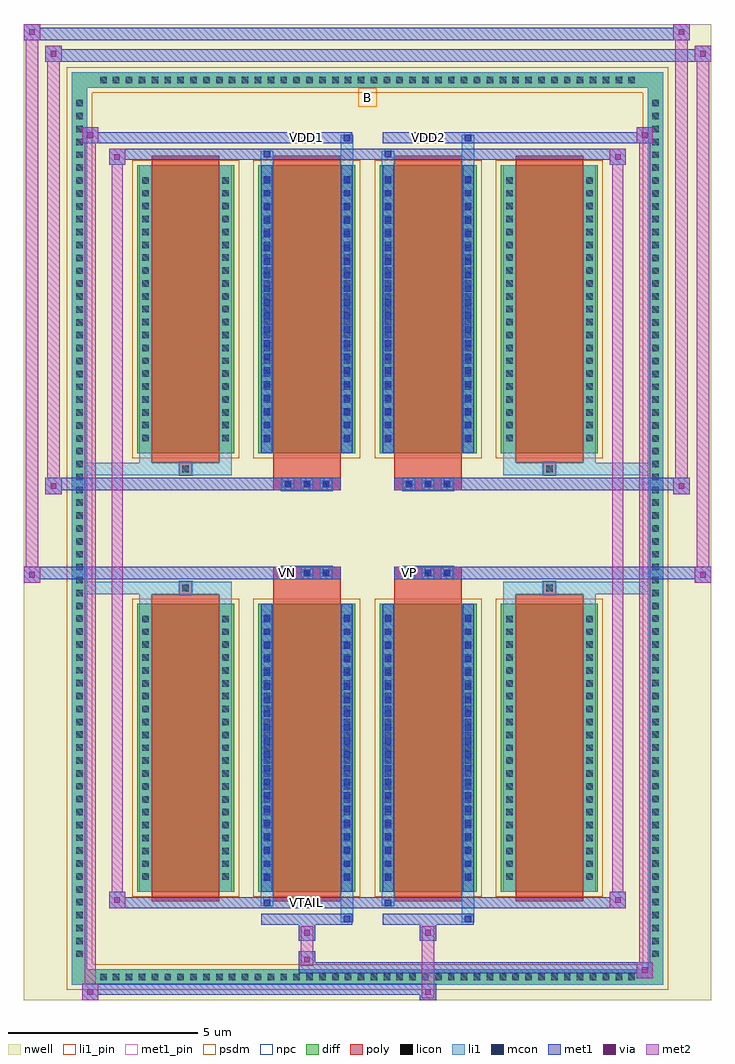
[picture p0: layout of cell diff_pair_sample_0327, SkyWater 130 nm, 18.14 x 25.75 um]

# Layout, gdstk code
import gdstk
lib = gdstk.Library(unit=1e-6, precision=5e-09)
def R(c, l, rs):  # rectangles x0, y0, x1, y1
    for r in rs: c.add(gdstk.rectangle(r[:2], r[2:], *l))
def A(c, l, x, y, w, h, nx, ny, dx, dy):  # array of equal rectangles
    R(c, l, [(x+i*dx, y+j*dy, x+i*dx+w, y+j*dy+h) for i in range(nx) for j in range(ny)])
def P(c, l, *ps):  # polygons
    for p in ps: c.add(gdstk.Polygon(p, *l))
nwell = (64, 20)
diff = (65, 20)
poly = (66, 20)
licon = (66, 44)
li1_pin = (67, 16)
li1 = (67, 20)
mcon = (67, 44)
met1_pin = (68, 16)
met1 = (68, 20)
via = (68, 44)
met2 = (69, 20)
psdm = (94, 20)
npc = (95, 20)

diff_pair_sample_0327 = lib.new_cell('diff_pair_sample_0327')
R(diff_pair_sample_0327, nwell, [(-9.07,-12.44,9.07,13.31), (-6.39,-10.63,-0.01,-0.805), (0.01,-10.63,6.39,-0.805), (-6.39,0.805,-0.01,10.63), (0.01,0.805,6.39,10.63)])
A(diff_pair_sample_0327, diff, -7.175, -12.04, 0.41, 0.41, 42, 2, 0.34, 23.67)
A(diff_pair_sample_0327, diff, -7.8, -11.425, 0.41, 0.41, 1, 67, 0, 0.34)
A(diff_pair_sample_0327, diff, 7.39, -11.425, 0.41, 0.41, 1, 67, 0, 0.34)
A(diff_pair_sample_0327, diff, -6.08, -9.585, 2.56, 7.6, 4, 2, 3.2, 11.57)
R(diff_pair_sample_0327, diff, [(-7.175,-12.04,7.175,-11.63), (-7.8,-11.425,-7.39,11.425), (7.39,-11.425,7.8,11.425), (-7.175,11.63,7.175,12.04)])
P(diff_pair_sample_0327, diff, [(7.8,12.04),(-7.8,12.04),(-7.8,-11.63),(-7.39,-11.63),(-7.39,11.63),(7.39,11.63),(7.39,-11.63),(-7.39,-11.63),(-7.8,-11.63),(-7.8,-12.04),(7.8,-12.04)])
A(diff_pair_sample_0327, poly, -5.69, -9.835, 1.78, 8.1, 4, 2, 3.2, 11.57)
A(diff_pair_sample_0327, poly, -2.265, -1.335, 0.33, 0.33, 3, 2, 0.5, 2.34)
A(diff_pair_sample_0327, poly, 0.935, -1.335, 0.33, 0.33, 3, 2, 0.5, 2.34)
R(diff_pair_sample_0327, poly, [(-4.965,-1.735,-4.635,-1.405), (-4.965,-1.735,-4.635,-1.405), (-2.49,-1.735,-0.71,-1.335), (0.71,-1.735,2.49,-1.335), (4.635,-1.735,4.965,-1.405), (4.635,-1.735,4.965,-1.405), (-2.49,-1.335,-0.71,-1.005), (0.71,-1.335,2.49,-1.005), (-2.49,1.005,-0.71,1.335), (0.71,1.005,2.49,1.335), (-2.49,1.335,-0.71,1.735), (0.71,1.335,2.49,1.735), (-4.965,1.405,-4.635,1.735), (-4.965,1.405,-4.635,1.735), (4.635,1.405,4.965,1.735), (4.635,1.405,4.965,1.735)])
A(diff_pair_sample_0327, licon, -7.055, -11.92, 0.17, 0.17, 42, 2, 0.34, 23.67)
A(diff_pair_sample_0327, licon, -7.68, -11.305, 0.17, 0.17, 1, 67, 0, 0.34)
A(diff_pair_sample_0327, licon, 7.51, -11.305, 0.17, 0.17, 1, 67, 0, 0.34)
A(diff_pair_sample_0327, licon, -5.94, -9.27, 0.17, 0.17, 1, 21, 0, 0.34)
A(diff_pair_sample_0327, licon, -3.83, -9.27, 0.17, 0.17, 1, 21, 0, 0.34)
A(diff_pair_sample_0327, licon, -2.74, -9.27, 0.17, 0.17, 1, 21, 0, 0.34)
A(diff_pair_sample_0327, licon, -0.63, -9.27, 0.17, 0.17, 1, 21, 0, 0.34)
A(diff_pair_sample_0327, licon, 0.46, -9.27, 0.17, 0.17, 1, 21, 0, 0.34)
A(diff_pair_sample_0327, licon, 2.57, -9.27, 0.17, 0.17, 1, 21, 0, 0.34)
A(diff_pair_sample_0327, licon, 3.66, -9.27, 0.17, 0.17, 1, 21, 0, 0.34)
A(diff_pair_sample_0327, licon, 5.77, -9.27, 0.17, 0.17, 1, 21, 0, 0.34)
A(diff_pair_sample_0327, licon, -2.185, -1.255, 0.17, 0.17, 3, 2, 0.5, 2.34)
A(diff_pair_sample_0327, licon, 1.015, -1.255, 0.17, 0.17, 3, 2, 0.5, 2.34)
A(diff_pair_sample_0327, licon, -5.94, 2.3, 0.17, 0.17, 1, 21, 0, 0.34)
A(diff_pair_sample_0327, licon, -3.83, 2.3, 0.17, 0.17, 1, 21, 0, 0.34)
A(diff_pair_sample_0327, licon, -2.74, 2.3, 0.17, 0.17, 1, 21, 0, 0.34)
A(diff_pair_sample_0327, licon, -0.63, 2.3, 0.17, 0.17, 1, 21, 0, 0.34)
A(diff_pair_sample_0327, licon, 0.46, 2.3, 0.17, 0.17, 1, 21, 0, 0.34)
A(diff_pair_sample_0327, licon, 2.57, 2.3, 0.17, 0.17, 1, 21, 0, 0.34)
A(diff_pair_sample_0327, licon, 3.66, 2.3, 0.17, 0.17, 1, 21, 0, 0.34)
A(diff_pair_sample_0327, licon, 5.77, 2.3, 0.17, 0.17, 1, 21, 0, 0.34)
R(diff_pair_sample_0327, licon, [(-4.885,-1.655,-4.715,-1.485), (4.715,-1.655,4.885,-1.485), (-4.885,1.485,-4.715,1.655), (4.715,1.485,4.885,1.655)])
R(diff_pair_sample_0327, li1_pin, [(-0.25,11.13,0.25,11.63)])
A(diff_pair_sample_0327, li1, -7.135, -12, 0.33, 0.33, 42, 2, 0.34, 23.67)
A(diff_pair_sample_0327, li1, -7.76, -11.385, 0.33, 0.33, 1, 67, 0, 0.34)
A(diff_pair_sample_0327, li1, 7.43, -11.385, 0.33, 0.33, 1, 67, 0, 0.34)
A(diff_pair_sample_0327, li1, -6.02, -9.35, 0.33, 0.33, 1, 21, 0, 0.34)
A(diff_pair_sample_0327, li1, -3.91, -9.35, 0.33, 0.33, 1, 21, 0, 0.34)
A(diff_pair_sample_0327, li1, -2.82, -9.35, 0.33, 0.33, 1, 21, 0, 0.34)
A(diff_pair_sample_0327, li1, -0.71, -9.35, 0.33, 0.33, 1, 21, 0, 0.34)
A(diff_pair_sample_0327, li1, 0.38, -9.35, 0.33, 0.33, 1, 21, 0, 0.34)
A(diff_pair_sample_0327, li1, 2.49, -9.35, 0.33, 0.33, 1, 21, 0, 0.34)
A(diff_pair_sample_0327, li1, 3.58, -9.35, 0.33, 0.33, 1, 21, 0, 0.34)
A(diff_pair_sample_0327, li1, 5.69, -9.35, 0.33, 0.33, 1, 21, 0, 0.34)
A(diff_pair_sample_0327, li1, -2.74, -9.29, 0.17, 0.17, 1, 20, 0, 0.36)
A(diff_pair_sample_0327, li1, -0.63, -9.29, 0.17, 0.17, 1, 20, 0, 0.36)
A(diff_pair_sample_0327, li1, 0.46, -9.29, 0.17, 0.17, 1, 20, 0, 0.36)
A(diff_pair_sample_0327, li1, 2.57, -9.29, 0.17, 0.17, 1, 20, 0, 0.36)
A(diff_pair_sample_0327, li1, -2.265, -1.335, 0.33, 0.33, 3, 2, 0.5, 2.34)
A(diff_pair_sample_0327, li1, 0.935, -1.335, 0.33, 0.33, 3, 2, 0.5, 2.34)
A(diff_pair_sample_0327, li1, -6.02, 2.22, 0.33, 0.33, 1, 21, 0, 0.34)
A(diff_pair_sample_0327, li1, -3.91, 2.22, 0.33, 0.33, 1, 21, 0, 0.34)
A(diff_pair_sample_0327, li1, -2.82, 2.22, 0.33, 0.33, 1, 21, 0, 0.34)
A(diff_pair_sample_0327, li1, -0.71, 2.22, 0.33, 0.33, 1, 21, 0, 0.34)
A(diff_pair_sample_0327, li1, 0.38, 2.22, 0.33, 0.33, 1, 21, 0, 0.34)
A(diff_pair_sample_0327, li1, 2.49, 2.22, 0.33, 0.33, 1, 21, 0, 0.34)
A(diff_pair_sample_0327, li1, 3.58, 2.22, 0.33, 0.33, 1, 21, 0, 0.34)
A(diff_pair_sample_0327, li1, 5.69, 2.22, 0.33, 0.33, 1, 21, 0, 0.34)
A(diff_pair_sample_0327, li1, -2.74, 2.28, 0.17, 0.17, 1, 20, 0, 0.36)
A(diff_pair_sample_0327, li1, -0.63, 2.28, 0.17, 0.17, 1, 20, 0, 0.36)
A(diff_pair_sample_0327, li1, 0.46, 2.28, 0.17, 0.17, 1, 20, 0, 0.36)
A(diff_pair_sample_0327, li1, 2.57, 2.28, 0.17, 0.17, 1, 20, 0, 0.36)
R(diff_pair_sample_0327, li1, [(-7.8,-12.04,-7.39,-11.63), (-7.8,-12.04,-7.39,-11.63), (-7.39,-12.04,7.39,-11.63), (7.39,-12.04,7.8,-11.63), (7.39,-12.04,7.8,-11.63), (-7.8,-11.63,-7.39,11.63), (7.39,-11.63,7.8,11.63), (-0.71,-10.39,-0.38,-9.585), (-0.63,-10.39,-0.46,-10.22), (2.49,-10.39,2.82,-9.585), (2.57,-10.39,2.74,-10.22), (-2.82,-9.96,-2.49,-9.585), (-2.74,-9.96,-2.57,-9.79), (0.38,-9.96,0.71,-9.585), (0.46,-9.96,0.63,-9.79), (-6.02,-9.585,-5.69,-1.985), (-3.91,-9.585,-3.58,-1.985), (-2.82,-9.585,-2.49,-1.985), (-0.71,-9.585,-0.38,-1.985), (0.38,-9.585,0.71,-1.985), (2.49,-9.585,2.82,-1.985), (3.58,-9.585,3.91,-1.985), (5.69,-9.585,6.02,-1.985), (-2.74,-9.29,-2.57,-2.28), (-0.63,-9.29,-0.46,-2.28), (0.46,-9.29,0.63,-2.28), (2.57,-9.29,2.74,-2.28), (-6.02,-1.985,-5.69,-1.405), (-3.91,-1.985,-3.58,-1.405), (3.58,-1.985,3.91,-1.405), (5.69,-1.985,6.02,-1.405), (-7.8,-1.735,-4.965,-1.405), (-6.02,-1.735,-4.965,-1.405), (-4.965,-1.735,-4.635,-1.405), (-4.635,-1.735,-3.58,-1.405), (3.58,-1.735,4.635,-1.405), (4.635,-1.735,4.965,-1.405), (4.635,-1.735,7.8,-1.405), (4.965,-1.735,6.02,-1.405), (-7.8,1.405,-4.965,1.735), (-6.02,1.405,-4.965,1.735), (-6.02,1.405,-5.69,1.985), (-4.965,1.405,-4.635,1.735), (-4.635,1.405,-3.58,1.735), (-3.91,1.405,-3.58,1.985), (3.58,1.405,4.635,1.735), (3.58,1.405,3.91,1.985), (4.635,1.405,4.965,1.735), (4.635,1.405,7.8,1.735), (4.965,1.405,6.02,1.735), (5.69,1.405,6.02,1.985), (-6.02,1.985,-5.69,9.585), (-3.91,1.985,-3.58,9.585), (-2.82,1.985,-2.49,9.585), (-0.71,1.985,-0.38,9.585), (0.38,1.985,0.71,9.585), (2.49,1.985,2.82,9.585), (3.58,1.985,3.91,9.585), (5.69,1.985,6.02,9.585), (-2.74,2.28,-2.57,9.29), (-0.63,2.28,-0.46,9.29), (0.46,2.28,0.63,9.29), (2.57,2.28,2.74,9.29), (-2.82,9.585,-2.49,9.96), (-0.71,9.585,-0.38,10.39), (0.38,9.585,0.71,9.96), (2.49,9.585,2.82,10.39), (-2.74,9.79,-2.57,9.96), (0.46,9.79,0.63,9.96), (-0.63,10.22,-0.46,10.39), (2.57,10.22,2.74,10.39), (-7.8,11.63,-7.39,12.04), (-7.8,11.63,-7.39,12.04), (-7.39,11.63,7.39,12.04), (7.39,11.63,7.8,12.04), (7.39,11.63,7.8,12.04)])
A(diff_pair_sample_0327, mcon, -2.74, -9.29, 0.17, 0.17, 1, 20, 0, 0.36)
A(diff_pair_sample_0327, mcon, -0.63, -9.29, 0.17, 0.17, 1, 20, 0, 0.36)
A(diff_pair_sample_0327, mcon, 0.46, -9.29, 0.17, 0.17, 1, 20, 0, 0.36)
A(diff_pair_sample_0327, mcon, 2.57, -9.29, 0.17, 0.17, 1, 20, 0, 0.36)
A(diff_pair_sample_0327, mcon, -2.185, -1.255, 0.17, 0.17, 3, 2, 0.5, 2.34)
A(diff_pair_sample_0327, mcon, 1.015, -1.255, 0.17, 0.17, 3, 2, 0.5, 2.34)
A(diff_pair_sample_0327, mcon, -2.74, 2.28, 0.17, 0.17, 1, 20, 0, 0.36)
A(diff_pair_sample_0327, mcon, -0.63, 2.28, 0.17, 0.17, 1, 20, 0, 0.36)
A(diff_pair_sample_0327, mcon, 0.46, 2.28, 0.17, 0.17, 1, 20, 0, 0.36)
A(diff_pair_sample_0327, mcon, 2.57, 2.28, 0.17, 0.17, 1, 20, 0, 0.36)
R(diff_pair_sample_0327, mcon, [(-0.63,-10.39,-0.46,-10.22), (2.57,-10.39,2.74,-10.22), (-2.74,-9.96,-2.57,-9.79), (0.46,-9.96,0.63,-9.79), (-2.74,9.79,-2.57,9.96), (0.46,9.79,0.63,9.96), (-0.63,10.22,-0.46,10.39), (2.57,10.22,2.74,10.39)])
R(diff_pair_sample_0327, met1_pin, [(-1.735,-10,-1.465,-9.73), (-2.235,-1.295,-1.965,-1.025), (0.965,-1.295,1.235,-1.025), (-1.735,10.18,-1.465,10.45), (1.465,10.18,1.735,10.45)])
A(diff_pair_sample_0327, met1, -2.8, -9.35, 0.29, 0.29, 1, 20, 0, 0.36)
A(diff_pair_sample_0327, met1, -0.69, -9.35, 0.29, 0.29, 1, 20, 0, 0.36)
A(diff_pair_sample_0327, met1, 0.4, -9.35, 0.29, 0.29, 1, 20, 0, 0.36)
A(diff_pair_sample_0327, met1, 2.51, -9.35, 0.29, 0.29, 1, 20, 0, 0.36)
A(diff_pair_sample_0327, met1, -2.245, -1.315, 0.29, 0.29, 3, 2, 0.5, 2.34)
A(diff_pair_sample_0327, met1, 0.955, -1.315, 0.29, 0.29, 3, 2, 0.5, 2.34)
A(diff_pair_sample_0327, met1, -2.8, 2.22, 0.29, 0.29, 1, 20, 0, 0.36)
A(diff_pair_sample_0327, met1, -0.69, 2.22, 0.29, 0.29, 1, 20, 0, 0.36)
A(diff_pair_sample_0327, met1, 0.4, 2.22, 0.29, 0.29, 1, 20, 0, 0.36)
A(diff_pair_sample_0327, met1, 2.51, 2.22, 0.29, 0.29, 1, 20, 0, 0.36)
R(diff_pair_sample_0327, met1, [(-7.53,-12.44,-7.1,-12.01), (1.385,-12.44,1.815,-12.01), (-7.53,-12.3,1.815,-12.01), (7.1,-11.87,7.53,-11.44), (-1.815,-11.73,7.53,-11.44), (-1.815,-11.59,-1.385,-11.16), (-1.815,-10.88,-1.385,-10.45), (1.385,-10.88,1.815,-10.45), (-2.8,-10.45,-0.4,-10.16), (-0.69,-10.45,-0.4,-10.16), (0.4,-10.45,2.8,-10.16), (2.51,-10.45,2.8,-10.16), (-6.82,-10.02,-6.39,-9.59), (-6.82,-10.02,-2.8,-9.73), (-2.8,-10.02,-2.51,-9.73), (-2.8,-10.02,-0.4,-9.73), (-0.4,-10.02,0.4,-9.73), (0.4,-10.02,0.69,-9.73), (0.4,-10.02,2.8,-9.73), (2.8,-10.02,6.82,-9.73), (6.39,-10.02,6.82,-9.59), (-2.8,-9.585,-2.51,-1.985), (-0.69,-9.585,-0.4,-1.985), (0.4,-9.585,0.69,-1.985), (2.51,-9.585,2.8,-1.985), (-9.07,-1.435,-8.64,-1.005), (8.64,-1.435,9.07,-1.005), (-9.07,-1.335,-0.71,-1.005), (-2.49,-1.335,-0.71,-1.005), (0.71,-1.335,2.49,-1.005), (0.71,-1.335,9.07,-1.005), (-8.5,0.905,-8.07,1.335), (8.07,0.905,8.5,1.335), (-8.5,1.005,-2.49,1.335), (-2.49,1.005,-0.71,1.335), (0.71,1.005,2.49,1.335), (2.49,1.005,8.5,1.335), (-2.8,1.985,-2.51,9.585), (-0.69,1.985,-0.4,9.585), (0.4,1.985,0.69,9.585), (2.51,1.985,2.8,9.585), (-6.82,9.59,-6.39,10.02), (6.39,9.59,6.82,10.02), (-6.82,9.73,-2.8,10.02), (-2.8,9.73,-2.51,10.02), (-2.8,9.73,-0.4,10.02), (-0.4,9.73,0.4,10.02), (0.4,9.73,0.69,10.02), (0.4,9.73,2.8,10.02), (2.8,9.73,6.82,10.02), (-7.53,10.16,-7.1,10.59), (-7.53,10.16,-2.8,10.45), (-2.8,10.16,-0.4,10.45), (-0.69,10.16,-0.4,10.45), (0.4,10.16,2.8,10.45), (2.51,10.16,2.8,10.45), (2.8,10.16,7.53,10.45), (7.1,10.16,7.53,10.59), (-8.5,12.31,-8.07,12.74), (-8.5,12.31,-6.39,12.64), (-6.39,12.31,6.39,12.64), (6.39,12.31,9.07,12.64), (8.64,12.31,9.07,12.74), (-9.07,12.88,-8.64,13.31), (-9.07,12.88,-6.39,13.21), (-6.39,12.88,6.39,13.21), (6.39,12.88,8.5,13.21), (8.07,12.88,8.5,13.31)])
R(diff_pair_sample_0327, via, [(-7.39,-12.3,-7.24,-12.15), (1.525,-12.3,1.675,-12.15), (7.24,-11.73,7.39,-11.58), (-1.675,-11.45,-1.525,-11.3), (-1.675,-10.74,-1.525,-10.59), (1.525,-10.74,1.675,-10.59), (-6.68,-9.88,-6.53,-9.73), (6.53,-9.88,6.68,-9.73), (-8.93,-1.295,-8.78,-1.145), (8.78,-1.295,8.93,-1.145), (-8.36,1.045,-8.21,1.195), (8.21,1.045,8.36,1.195), (-6.68,9.73,-6.53,9.88), (6.53,9.73,6.68,9.88), (-7.39,10.3,-7.24,10.45), (7.24,10.3,7.39,10.45), (-8.36,12.45,-8.21,12.6), (8.78,12.45,8.93,12.6), (-8.93,13.02,-8.78,13.17), (8.21,13.02,8.36,13.17)])
R(diff_pair_sample_0327, met2, [(-7.53,-12.44,-7.1,-12.01), (-7.46,-12.44,-7.17,10.59), (-7.17,-12.44,-7.1,-12.01), (-7.48,-12.39,-7.15,-12.06), (1.435,-12.39,1.765,-12.06), (1.435,-12.06,1.765,-10.83), (7.1,-11.87,7.53,-11.44), (7.17,-11.87,7.46,10.59), (7.46,-11.87,7.53,-11.44), (7.15,-11.82,7.48,-11.49), (-1.765,-11.54,-1.435,-11.21), (-1.765,-11.21,-1.435,-10.83), (-1.765,-10.83,-1.435,-10.5), (1.435,-10.83,1.765,-10.5), (-6.82,-10.02,-6.39,-9.59), (-6.75,-10.02,-6.46,10.02), (-6.46,-10.02,-6.39,-9.59), (6.39,-10.02,6.82,-9.59), (6.46,-10.02,6.75,10.02), (6.75,-10.02,6.82,-9.59), (-6.77,-9.97,-6.44,-9.64), (6.44,-9.97,6.77,-9.64), (-9.07,-1.435,-8.64,-1.005), (-9.02,-1.435,-8.69,13.31), (-8.69,-1.435,-8.64,-1.005), (8.64,-1.435,9.07,-1.005), (8.69,-1.435,9.02,12.74), (9.02,-1.435,9.07,-1.005), (-9.02,-1.385,-8.69,-1.055), (8.69,-1.385,9.02,-1.055), (-8.5,0.905,-8.07,1.335), (-8.45,0.905,-8.12,12.74), (-8.12,0.905,-8.07,1.335), (8.07,0.905,8.5,1.335), (8.12,0.905,8.45,13.31), (8.45,0.905,8.5,1.335), (-8.45,0.955,-8.12,1.285), (8.12,0.955,8.45,1.285), (-6.82,9.59,-6.39,10.02), (-6.46,9.59,-6.39,10.02), (6.39,9.59,6.82,10.02), (6.75,9.59,6.82,10.02), (-6.77,9.64,-6.44,9.97), (6.44,9.64,6.77,9.97), (-7.53,10.16,-7.1,10.59), (-7.17,10.16,-7.1,10.59), (7.1,10.16,7.53,10.59), (7.46,10.16,7.53,10.59), (-7.48,10.21,-7.15,10.54), (7.15,10.21,7.48,10.54), (-8.5,12.31,-8.07,12.74), (-8.12,12.31,-8.07,12.74), (8.64,12.31,9.07,12.74), (9.02,12.31,9.07,12.74), (-8.45,12.36,-8.12,12.69), (8.69,12.36,9.02,12.69), (-9.07,12.88,-8.64,13.31), (-8.69,12.88,-8.64,13.31), (8.07,12.88,8.5,13.31), (8.45,12.88,8.5,13.31), (-9.02,12.93,-8.69,13.26), (8.12,12.93,8.45,13.26)])
A(diff_pair_sample_0327, psdm, -6.21, -9.715, 2.82, 7.86, 4, 2, 3.2, 11.57)
P(diff_pair_sample_0327, psdm, [(7.93,12.17),(-7.93,12.17),(-7.93,-11.5),(-7.26,-11.5),(-7.26,11.5),(7.26,11.5),(7.26,-11.5),(-7.26,-11.5),(-7.93,-11.5),(-7.93,-12.17),(7.93,-12.17)])
A(diff_pair_sample_0327, npc, -2.285, -1.355, 0.37, 0.37, 3, 2, 0.5, 2.34)
A(diff_pair_sample_0327, npc, 0.915, -1.355, 0.37, 0.37, 3, 2, 0.5, 2.34)
R(diff_pair_sample_0327, npc, [(-4.985,-1.755,-4.615,-1.385), (4.615,-1.755,4.985,-1.385), (-2.285,-1.355,-1.415,-0.985), (-2.285,-1.355,-1.415,-0.985), (-1.785,-1.355,-0.915,-0.985), (-1.785,-1.355,-0.915,-0.985), (0.915,-1.355,1.785,-0.985), (0.915,-1.355,1.785,-0.985), (1.415,-1.355,2.285,-0.985), (1.415,-1.355,2.285,-0.985), (-2.285,0.985,-1.415,1.355), (-2.285,0.985,-1.415,1.355), (-1.785,0.985,-0.915,1.355), (-1.785,0.985,-0.915,1.355), (0.915,0.985,1.785,1.355), (0.915,0.985,1.785,1.355), (1.415,0.985,2.285,1.355), (1.415,0.985,2.285,1.355), (-4.985,1.385,-4.615,1.755), (4.615,1.385,4.985,1.755)])
diff_pair_sample_0327.add(gdstk.Label('VTAIL', (-1.6,-9.865), layer=68, texttype=5))
diff_pair_sample_0327.add(gdstk.Label('VN', (-2.1,-1.16), layer=68, texttype=5))
diff_pair_sample_0327.add(gdstk.Label('VP', (1.1,-1.16), layer=68, texttype=5))
diff_pair_sample_0327.add(gdstk.Label('B', (0,11.38), layer=67, texttype=5))
diff_pair_sample_0327.add(gdstk.Label('VDD2', (1.6,10.315), layer=68, texttype=5))
diff_pair_sample_0327.add(gdstk.Label('VDD1', (-1.6,10.315), layer=68, texttype=5))

lib.write_gds('diff_pair_sample_0327.gds')
